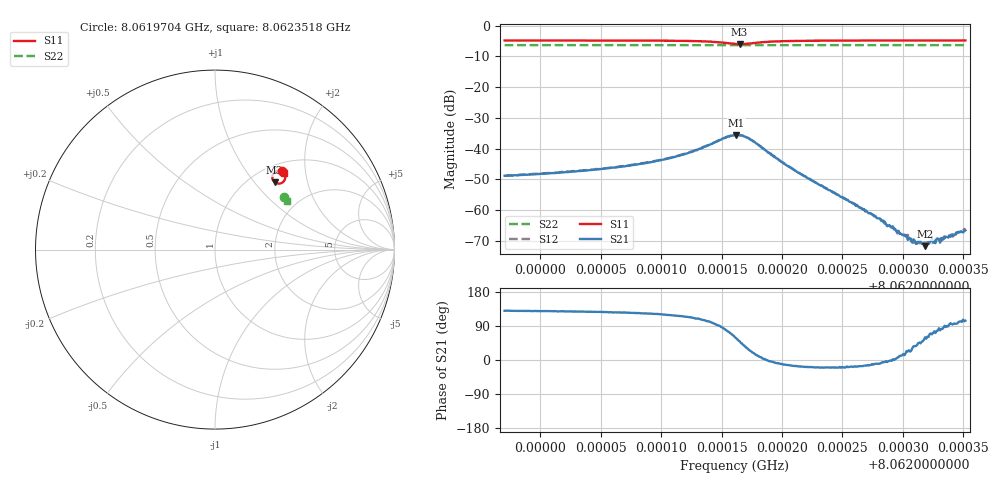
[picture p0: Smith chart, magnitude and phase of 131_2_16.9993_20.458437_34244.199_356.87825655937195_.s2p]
#  HZ  S  RI  R  50.00
! Rohde & Schwarz Vector Network Analyzer
! Rohde-Schwarz,ZNB20-2Port,1311601062101988,3.16
! Created: UTC 3/20/2024, 10:57:57 PM
! freq[Hz]  re:S11  im:S11  re:S21  im:S21  re:S12  im:S12  re:S22  im:S22
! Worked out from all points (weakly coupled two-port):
!   401 points, 8.0619704 GHz to 8.0623518 GHz, reference 50 ohm
!   highest |S21| = -35.51 dB at 8.0621621 GHz (marker M1); lowest = -71.7 dB at 8.0623185 GHz (marker M2)
!   lowest |S11| = -6.0 dB at 8.0621649 GHz (marker M3), VSWR 3.01, Z = 63.7 + j64 ohm
!   |S11| at or under -10 dB: nowhere
!   |S22| runs from -6.4 to -6.3 dB; largest |S21 - S12| = 0.0012
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8.06197039e9  0.3744 0.4372  -0.00232 0.00277  -0.00215 0.00295  0.3864 0.2907
8.06203428e9  0.3802 0.4314  -0.00265 0.00345  -0.00246 0.00363  0.3886 0.2876
8.06206956e9  0.3841 0.4264  -0.00298 0.00419  -0.00275 0.00447  0.3899 0.2855
8.06209817e9  0.3881 0.4196  -0.0033 0.00551  -0.00298 0.00574  0.3909 0.2839
8.06212487e9  0.3916 0.4063  -0.00335 0.00816  -0.00288 0.00847  0.3916 0.2822
8.06215253e9  0.3726 0.3718  0.00217 0.0147  0.0032 0.0147  0.3911 0.2796
8.06216111e9  0.3452 0.3688  0.00829 0.0144  0.00935 0.014  0.3904 0.2794
8.06216206e9  0.3417 0.3701  0.00903 0.0141  0.00998 0.0136  0.3902 0.2797
8.06216492e9  0.3322 0.3758  0.0107 0.0125  0.0118 0.0119  0.3899 0.2799
8.0621735e9  0.319 0.4037  0.0129 0.00592  0.0133 0.00508  0.3901 0.2809
8.06220021e9  0.3478 0.4391  0.00587 -0.00113  0.00582 -0.0015  0.3926 0.2808
8.062225e9  0.3629 0.4392  0.00285 -0.000966  0.00277 -0.00119  0.3941 0.2795
8.06227935e9  0.376 0.4342  0.000726 -0.000126  0.000754 -0.000156  0.3963 0.2764
8.06228889e9  0.3774 0.4334  0.000569 -2.37e-05  0.000554 -5.48e-05  0.3966 0.276
8.06230319e9  0.3793 0.4321  0.000352 0.000154  0.00038 8.74e-05  0.397 0.2754
8.06230606e9  0.3796 0.432  0.000319 0.00013  0.000311 0.000104  0.3971 0.2751
8.06230987e9  0.3801 0.4317  0.000256 0.000191  0.000278 0.000155  0.3973 0.2748
8.06231845e9  0.3809 0.4312  0.00013 0.000224  0.000188 0.000217  0.3977 0.2744
8.06232227e9  0.3815 0.4307  0.000108 0.000277  0.000143 0.000234  0.3977 0.2744
8.06233276e9  0.3824 0.43  4.92e-05 0.000348  5.09e-05 0.000319  0.3983 0.2737
8.06234325e9  0.3835 0.4293  -4.06e-05 0.000401  -2.22e-05 0.000374  0.3985 0.2731
8.06235183e9  0.3841 0.4288  -0.00011 0.000456  -8.65e-05 0.000475  0.3988 0.2726
